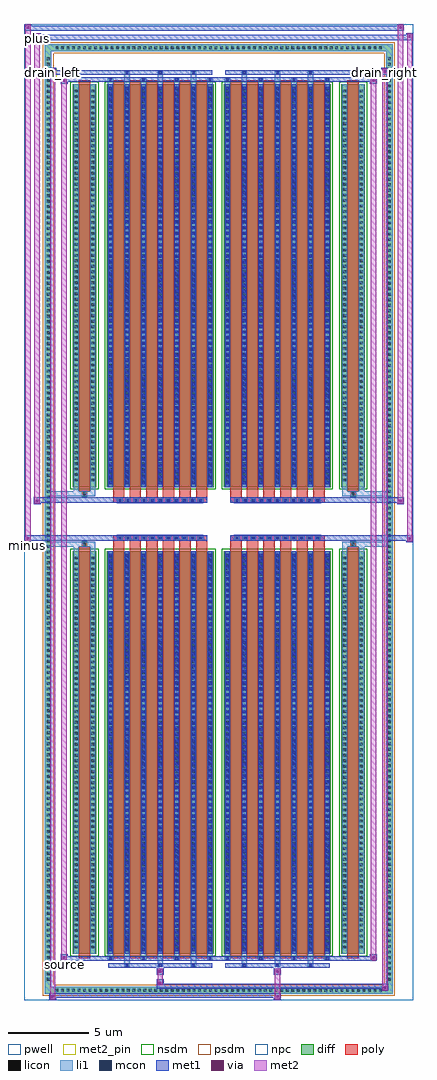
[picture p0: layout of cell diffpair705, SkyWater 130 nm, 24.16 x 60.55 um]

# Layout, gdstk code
import gdstk
lib = gdstk.Library(unit=1e-6, precision=5e-09)
def R(c, l, rs):  # rectangles x0, y0, x1, y1
    for r in rs: c.add(gdstk.rectangle(r[:2], r[2:], *l))
def A(c, l, x, y, w, h, nx, ny, dx, dy):  # array of equal rectangles
    R(c, l, [(x+i*dx, y+j*dy, x+i*dx+w, y+j*dy+h) for i in range(nx) for j in range(ny)])
def P(c, l, *ps):  # polygons
    for p in ps: c.add(gdstk.Polygon(p, *l))
pwell = (64, 44)
diff = (65, 20)
poly = (66, 20)
licon = (66, 44)
li1 = (67, 20)
mcon = (67, 44)
met1 = (68, 20)
via = (68, 44)
met2_pin = (69, 16)
met2 = (69, 20)
nsdm = (93, 44)
psdm = (94, 20)
npc = (95, 20)

diffpair705 = lib.new_cell('diffpair705')
R(diffpair705, pwell, [(-12.06,-29.84,12.06,30.71), (-9.38,-28.03,-0.01,-0.805), (0.01,-28.03,9.38,-0.805), (-9.38,0.805,-0.01,28.03), (0.01,0.805,9.38,28.03)])
A(diffpair705, diff, -10.235, -29.44, 0.41, 0.41, 60, 2, 0.34, 58.47)
A(diffpair705, diff, -10.79, -28.765, 0.41, 0.41, 1, 169, 0, 0.34)
A(diffpair705, diff, 10.38, -28.765, 0.41, 0.41, 1, 169, 0, 0.34)
R(diffpair705, diff, [(-10.235,-29.44,10.235,-29.03), (-10.79,-28.765,-10.38,28.765), (10.38,-28.765,10.79,28.765), (-9.07,-26.985,-7.59,-1.985), (-6.95,-26.985,-0.32,-1.985), (0.32,-26.985,6.95,-1.985), (7.59,-26.985,9.07,-1.985), (-9.07,1.985,-7.59,26.985), (-6.95,1.985,-0.32,26.985), (0.32,1.985,6.95,26.985), (7.59,1.985,9.07,26.985), (-10.235,29.03,10.235,29.44)])
P(diffpair705, diff, [(10.79,29.44),(-10.79,29.44),(-10.79,-29.03),(-10.38,-29.03),(-10.38,29.03),(10.38,29.03),(10.38,-29.03),(-10.38,-29.03),(-10.79,-29.03),(-10.79,-29.44),(10.79,-29.44)])
A(diffpair705, poly, -6.56, -27.235, 0.7, 25.5, 6, 2, 1.03, 28.97)
A(diffpair705, poly, 0.71, -27.235, 0.7, 25.5, 6, 2, 1.03, 28.97)
A(diffpair705, poly, -6.56, -1.735, 0.7, 0.4, 6, 2, 1.03, 3.07)
A(diffpair705, poly, 0.71, -1.735, 0.7, 0.4, 6, 2, 1.03, 3.07)
A(diffpair705, poly, -6.3, -1.335, 0.33, 0.33, 11, 2, 0.5, 2.34)
A(diffpair705, poly, 0.97, -1.335, 0.33, 0.33, 11, 2, 0.5, 2.34)
R(diffpair705, poly, [(-8.68,-27.235,-7.98,-1.735), (7.98,-27.235,8.68,-1.735), (-8.495,-1.735,-8.165,-1.405), (-8.495,-1.735,-8.165,-1.405), (8.165,-1.735,8.495,-1.405), (8.165,-1.735,8.495,-1.405), (-6.56,-1.335,-0.71,-1.005), (0.71,-1.335,6.56,-1.005), (-6.56,1.005,-0.71,1.335), (0.71,1.005,6.56,1.335), (-8.495,1.405,-8.165,1.735), (-8.495,1.405,-8.165,1.735), (8.165,1.405,8.495,1.735), (8.165,1.405,8.495,1.735), (-8.68,1.735,-7.98,27.235), (7.98,1.735,8.68,27.235)])
A(diffpair705, licon, -10.115, -29.32, 0.17, 0.17, 60, 2, 0.34, 58.47)
A(diffpair705, licon, -10.67, -28.645, 0.17, 0.17, 1, 169, 0, 0.34)
A(diffpair705, licon, 10.5, -28.645, 0.17, 0.17, 1, 169, 0, 0.34)
A(diffpair705, licon, -8.93, -26.64, 0.17, 0.17, 1, 72, 0, 0.34)
A(diffpair705, licon, -7.9, -26.64, 0.17, 0.17, 1, 72, 0, 0.34)
A(diffpair705, licon, -6.81, -26.64, 0.17, 0.17, 7, 72, 1.03, 0.34)
A(diffpair705, licon, 0.46, -26.64, 0.17, 0.17, 7, 72, 1.03, 0.34)
A(diffpair705, licon, 7.73, -26.64, 0.17, 0.17, 1, 72, 0, 0.34)
A(diffpair705, licon, 8.76, -26.64, 0.17, 0.17, 1, 72, 0, 0.34)
A(diffpair705, licon, -6.22, -1.255, 0.17, 0.17, 11, 2, 0.5, 2.34)
A(diffpair705, licon, 1.05, -1.255, 0.17, 0.17, 11, 2, 0.5, 2.34)
A(diffpair705, licon, -8.93, 2.33, 0.17, 0.17, 1, 72, 0, 0.34)
A(diffpair705, licon, -7.9, 2.33, 0.17, 0.17, 1, 72, 0, 0.34)
A(diffpair705, licon, -6.81, 2.33, 0.17, 0.17, 7, 72, 1.03, 0.34)
A(diffpair705, licon, 0.46, 2.33, 0.17, 0.17, 7, 72, 1.03, 0.34)
A(diffpair705, licon, 7.73, 2.33, 0.17, 0.17, 1, 72, 0, 0.34)
A(diffpair705, licon, 8.76, 2.33, 0.17, 0.17, 1, 72, 0, 0.34)
R(diffpair705, licon, [(-8.415,-1.655,-8.245,-1.485), (8.245,-1.655,8.415,-1.485), (-8.415,1.485,-8.245,1.655), (8.245,1.485,8.415,1.655)])
A(diffpair705, li1, -10.195, -29.4, 0.33, 0.33, 60, 2, 0.34, 58.47)
A(diffpair705, li1, -10.75, -28.725, 0.33, 0.33, 1, 169, 0, 0.34)
A(diffpair705, li1, 10.42, -28.725, 0.33, 0.33, 1, 169, 0, 0.34)
A(diffpair705, li1, -5.86, -27.79, 0.33, 0.805, 3, 2, 2.06, 54.775)
A(diffpair705, li1, -5.78, -27.79, 0.17, 0.17, 3, 2, 2.06, 55.41)
A(diffpair705, li1, 1.41, -27.79, 0.33, 0.805, 3, 2, 2.06, 54.775)
A(diffpair705, li1, 1.49, -27.79, 0.17, 0.17, 3, 2, 2.06, 55.41)
A(diffpair705, li1, -6.89, -27.36, 0.33, 0.375, 4, 2, 2.06, 54.345)
A(diffpair705, li1, -6.81, -27.36, 0.17, 0.17, 4, 2, 2.06, 54.55)
A(diffpair705, li1, 0.38, -27.36, 0.33, 0.375, 4, 2, 2.06, 54.345)
A(diffpair705, li1, 0.46, -27.36, 0.17, 0.17, 4, 2, 2.06, 54.55)
A(diffpair705, li1, -6.89, -26.985, 0.33, 25, 7, 2, 1.03, 28.97)
A(diffpair705, li1, 0.38, -26.985, 0.33, 25, 7, 2, 1.03, 28.97)
A(diffpair705, li1, -6.81, -26.81, 0.17, 0.17, 7, 69, 1.03, 0.36)
A(diffpair705, li1, -6.81, -26.81, 0.17, 24.65, 7, 2, 1.03, 28.97)
A(diffpair705, li1, 0.46, -26.81, 0.17, 0.17, 7, 69, 1.03, 0.36)
A(diffpair705, li1, 0.46, -26.81, 0.17, 24.65, 7, 2, 1.03, 28.97)
A(diffpair705, li1, -9.01, -26.72, 0.33, 0.33, 1, 72, 0, 0.34)
A(diffpair705, li1, -7.98, -26.72, 0.33, 0.33, 1, 72, 0, 0.34)
A(diffpair705, li1, -6.89, -26.72, 0.33, 0.33, 7, 72, 1.03, 0.34)
A(diffpair705, li1, 0.38, -26.72, 0.33, 0.33, 7, 72, 1.03, 0.34)
A(diffpair705, li1, 7.65, -26.72, 0.33, 0.33, 1, 72, 0, 0.34)
A(diffpair705, li1, 8.68, -26.72, 0.33, 0.33, 1, 72, 0, 0.34)
A(diffpair705, li1, -6.3, -1.335, 0.33, 0.33, 11, 2, 0.5, 2.34)
A(diffpair705, li1, 0.97, -1.335, 0.33, 0.33, 11, 2, 0.5, 2.34)
A(diffpair705, li1, -6.81, 2.16, 0.17, 0.17, 7, 69, 1.03, 0.36)
A(diffpair705, li1, 0.46, 2.16, 0.17, 0.17, 7, 69, 1.03, 0.36)
A(diffpair705, li1, -9.01, 2.25, 0.33, 0.33, 1, 72, 0, 0.34)
A(diffpair705, li1, -7.98, 2.25, 0.33, 0.33, 1, 72, 0, 0.34)
A(diffpair705, li1, -6.89, 2.25, 0.33, 0.33, 7, 72, 1.03, 0.34)
A(diffpair705, li1, 0.38, 2.25, 0.33, 0.33, 7, 72, 1.03, 0.34)
A(diffpair705, li1, 7.65, 2.25, 0.33, 0.33, 1, 72, 0, 0.34)
A(diffpair705, li1, 8.68, 2.25, 0.33, 0.33, 1, 72, 0, 0.34)
R(diffpair705, li1, [(-10.79,-29.44,-10.38,-29.03), (-10.79,-29.44,-10.38,-29.03), (-10.38,-29.44,10.38,-29.03), (10.38,-29.44,10.79,-29.03), (10.38,-29.44,10.79,-29.03), (-10.79,-29.03,-10.38,29.03), (10.38,-29.03,10.79,29.03), (-9.01,-26.985,-8.68,-1.985), (-7.98,-26.985,-7.65,-1.985), (7.65,-26.985,7.98,-1.985), (8.68,-26.985,9.01,-1.985), (-9.01,-1.985,-8.68,-1.405), (-7.98,-1.985,-7.65,-1.405), (7.65,-1.985,7.98,-1.405), (8.68,-1.985,9.01,-1.405), (-10.79,-1.735,-8.495,-1.405), (-9.01,-1.735,-8.495,-1.405), (-8.495,-1.735,-8.165,-1.405), (-8.165,-1.735,-7.65,-1.405), (7.65,-1.735,8.165,-1.405), (8.165,-1.735,8.495,-1.405), (8.165,-1.735,10.79,-1.405), (8.495,-1.735,9.01,-1.405), (-10.79,1.405,-8.495,1.735), (-9.01,1.405,-8.495,1.735), (-9.01,1.405,-8.68,1.985), (-8.495,1.405,-8.165,1.735), (-8.165,1.405,-7.65,1.735), (-7.98,1.405,-7.65,1.985), (7.65,1.405,8.165,1.735), (7.65,1.405,7.98,1.985), (8.165,1.405,8.495,1.735), (8.165,1.405,10.79,1.735), (8.495,1.405,9.01,1.735), (8.68,1.405,9.01,1.985), (-9.01,1.985,-8.68,26.985), (-7.98,1.985,-7.65,26.985), (7.65,1.985,7.98,26.985), (8.68,1.985,9.01,26.985), (-10.79,29.03,-10.38,29.44), (-10.79,29.03,-10.38,29.44), (-10.38,29.03,10.38,29.44), (10.38,29.03,10.79,29.44), (10.38,29.03,10.79,29.44)])
A(diffpair705, mcon, -5.78, -27.79, 0.17, 0.17, 3, 2, 2.06, 55.41)
A(diffpair705, mcon, 1.49, -27.79, 0.17, 0.17, 3, 2, 2.06, 55.41)
A(diffpair705, mcon, -6.81, -27.36, 0.17, 0.17, 4, 2, 2.06, 54.55)
A(diffpair705, mcon, 0.46, -27.36, 0.17, 0.17, 4, 2, 2.06, 54.55)
A(diffpair705, mcon, -6.81, -26.81, 0.17, 0.17, 7, 69, 1.03, 0.36)
A(diffpair705, mcon, 0.46, -26.81, 0.17, 0.17, 7, 69, 1.03, 0.36)
A(diffpair705, mcon, -6.22, -1.255, 0.17, 0.17, 11, 2, 0.5, 2.34)
A(diffpair705, mcon, 1.05, -1.255, 0.17, 0.17, 11, 2, 0.5, 2.34)
A(diffpair705, mcon, -6.81, 2.16, 0.17, 0.17, 7, 69, 1.03, 0.36)
A(diffpair705, mcon, 0.46, 2.16, 0.17, 0.17, 7, 69, 1.03, 0.36)
A(diffpair705, met1, -5.84, -27.85, 0.29, 0.29, 3, 2, 2.06, 55.41)
A(diffpair705, met1, 1.43, -27.85, 0.29, 0.29, 3, 2, 2.06, 55.41)
A(diffpair705, met1, -6.87, -27.42, 0.29, 0.29, 4, 2, 2.06, 54.55)
A(diffpair705, met1, 0.4, -27.42, 0.29, 0.29, 4, 2, 2.06, 54.55)
A(diffpair705, met1, -6.87, -26.985, 0.29, 25, 7, 2, 1.03, 28.97)
A(diffpair705, met1, 0.4, -26.985, 0.29, 25, 7, 2, 1.03, 28.97)
A(diffpair705, met1, -6.87, -26.87, 0.29, 0.29, 7, 69, 1.03, 0.36)
A(diffpair705, met1, 0.4, -26.87, 0.29, 0.29, 7, 69, 1.03, 0.36)
A(diffpair705, met1, -6.28, -1.315, 0.29, 0.29, 11, 2, 0.5, 2.34)
A(diffpair705, met1, 0.99, -1.315, 0.29, 0.29, 11, 2, 0.5, 2.34)
A(diffpair705, met1, -6.87, 2.1, 0.29, 0.29, 7, 69, 1.03, 0.36)
A(diffpair705, met1, 0.4, 2.1, 0.29, 0.29, 7, 69, 1.03, 0.36)
R(diffpair705, met1, [(-10.52,-29.84,-10.09,-29.41), (3.42,-29.84,3.85,-29.41), (-10.52,-29.7,3.85,-29.41), (10.09,-29.27,10.52,-28.84), (-3.85,-29.13,10.52,-28.84), (-3.85,-28.99,-3.42,-28.56), (-3.85,-28.28,-3.42,-27.85), (3.42,-28.28,3.85,-27.85), (-6.87,-27.85,-0.4,-27.56), (0.4,-27.85,6.87,-27.56), (-9.81,-27.42,-9.38,-26.99), (-9.81,-27.42,-6.87,-27.13), (-6.87,-27.42,-0.4,-27.13), (-0.4,-27.42,0.4,-27.13), (0.4,-27.42,6.87,-27.13), (6.87,-27.42,9.81,-27.13), (9.38,-27.42,9.81,-26.99), (-12.06,-1.435,-11.63,-1.005), (11.63,-1.435,12.06,-1.005), (-12.06,-1.335,-0.71,-1.005), (-6.56,-1.335,-0.71,-1.005), (0.71,-1.335,6.56,-1.005), (0.71,-1.335,12.06,-1.005), (-11.49,0.905,-11.06,1.335), (11.06,0.905,11.49,1.335), (-11.49,1.005,-6.56,1.335), (-6.56,1.005,-0.71,1.335), (0.71,1.005,6.56,1.335), (6.56,1.005,11.49,1.335), (-9.81,26.99,-9.38,27.42), (9.38,26.99,9.81,27.42), (-9.81,27.13,-6.87,27.42), (-6.87,27.13,-0.4,27.42), (-0.4,27.13,0.4,27.42), (0.4,27.13,6.87,27.42), (6.87,27.13,9.81,27.42), (-10.52,27.56,-10.09,27.99), (-10.52,27.56,-6.87,27.85), (-6.87,27.56,-0.4,27.85), (0.4,27.56,6.87,27.85), (6.87,27.56,10.52,27.85), (10.09,27.56,10.52,27.99), (-11.49,29.71,-11.06,30.14), (-11.49,29.71,-9.38,30.04), (-9.38,29.71,9.38,30.04), (9.38,29.71,12.06,30.04), (11.63,29.71,12.06,30.14), (-12.06,30.28,-11.63,30.71), (-12.06,30.28,-9.38,30.61), (-9.38,30.28,9.38,30.61), (9.38,30.28,11.49,30.61), (11.06,30.28,11.49,30.71)])
R(diffpair705, via, [(-10.38,-29.7,-10.23,-29.55), (3.56,-29.7,3.71,-29.55), (10.23,-29.13,10.38,-28.98), (-3.71,-28.85,-3.56,-28.7), (-3.71,-28.14,-3.56,-27.99), (3.56,-28.14,3.71,-27.99), (-9.67,-27.28,-9.52,-27.13), (9.52,-27.28,9.67,-27.13), (-11.92,-1.295,-11.77,-1.145), (11.77,-1.295,11.92,-1.145), (-11.35,1.045,-11.2,1.195), (11.2,1.045,11.35,1.195), (-9.67,27.13,-9.52,27.28), (9.52,27.13,9.67,27.28), (-10.38,27.7,-10.23,27.85), (10.23,27.7,10.38,27.85), (-11.35,29.85,-11.2,30), (11.77,29.85,11.92,30), (-11.92,30.42,-11.77,30.57), (11.2,30.42,11.35,30.57)])
R(diffpair705, met2_pin, [(-9.845,-27.87,-9.345,-27.37), (-12.095,-1.885,-11.595,-1.385), (-10.555,27.44,-10.055,27.94), (10.055,27.44,10.555,27.94), (-11.525,29.59,-11.025,30.09)])
R(diffpair705, met2, [(-10.47,-29.79,-10.14,-29.46), (-10.47,-29.79,-10.14,27.94), (3.47,-29.79,3.8,-29.46), (3.47,-29.46,3.8,-28.23), (10.14,-29.22,10.47,-28.89), (10.14,-29.22,10.47,27.94), (-3.8,-28.94,-3.47,-28.61), (-3.8,-28.61,-3.47,-28.23), (-3.8,-28.23,-3.47,-27.9), (3.47,-28.23,3.8,-27.9), (-9.76,-27.37,-9.43,-27.04), (-9.76,-27.37,-9.43,27.37), (9.43,-27.37,9.76,-27.04), (9.43,-27.37,9.76,27.37), (-12.01,-1.385,-11.68,-1.055), (-12.01,-1.385,-11.68,30.66), (11.68,-1.385,12.01,-1.055), (11.68,-1.385,12.01,30.09), (-11.44,0.955,-11.11,1.285), (-11.44,0.955,-11.11,30.09), (11.11,0.955,11.44,1.285), (11.11,0.955,11.44,30.66), (-9.76,27.04,-9.43,27.37), (9.43,27.04,9.76,27.37), (-10.47,27.61,-10.14,27.94), (10.14,27.61,10.47,27.94), (-11.44,29.76,-11.11,30.09), (11.68,29.76,12.01,30.09), (-12.01,30.33,-11.68,30.66), (11.11,30.33,11.44,30.66)])
P(diffpair705, met2, [(12.01,-1.385),(12.01,-1.385),(12.01,-1.055),(12.01,-1.055)],
  [(12.01,29.76),(12.01,29.76),(12.01,30.09),(12.01,30.09)],
  [(-11.68,-1.385),(-11.68,-1.385),(-11.68,-1.055),(-11.68,-1.055)],
  [(-11.68,30.33),(-11.68,30.33),(-11.68,30.66),(-11.68,30.66)],
  [(11.44,0.955),(11.44,0.955),(11.44,1.285),(11.44,1.285)],
  [(11.44,30.33),(11.44,30.33),(11.44,30.66),(11.44,30.66)],
  [(-11.11,0.955),(-11.11,0.955),(-11.11,1.285),(-11.11,1.285)],
  [(-11.11,29.76),(-11.11,29.76),(-11.11,30.09),(-11.11,30.09)],
  [(-10.14,-29.79),(-10.14,-29.79),(-10.14,-29.46),(-10.14,-29.46)],
  [(-10.14,27.61),(-10.14,27.61),(-10.14,27.94),(-10.14,27.94)],
  [(10.47,-29.22),(10.47,-29.22),(10.47,-28.89),(10.47,-28.89)],
  [(10.47,27.61),(10.47,27.61),(10.47,27.94),(10.47,27.94)],
  [(-9.43,-27.37),(-9.43,-27.37),(-9.43,-27.04),(-9.43,-27.04)],
  [(-9.43,27.04),(-9.43,27.04),(-9.43,27.37),(-9.43,27.37)],
  [(9.76,-27.37),(9.76,-27.37),(9.76,-27.04),(9.76,-27.04)],
  [(9.76,27.04),(9.76,27.04),(9.76,27.37),(9.76,27.37)])
R(diffpair705, nsdm, [(-9.2,-27.115,-7.46,-1.855), (-7.08,-27.115,-0.19,-1.855), (0.19,-27.115,7.08,-1.855), (7.46,-27.115,9.2,-1.855), (-9.2,1.855,-7.46,27.115), (-7.08,1.855,-0.19,27.115), (0.19,1.855,7.08,27.115), (7.46,1.855,9.2,27.115)])
P(diffpair705, psdm, [(10.92,29.57),(-10.92,29.57),(-10.92,-28.9),(-10.25,-28.9),(-10.25,28.9),(10.25,28.9),(10.25,-28.9),(-10.25,-28.9),(-10.92,-28.9),(-10.92,-29.57),(10.92,-29.57)])
A(diffpair705, npc, -6.32, -1.355, 0.37, 0.37, 11, 2, 0.5, 2.34)
A(diffpair705, npc, 0.95, -1.355, 0.37, 0.37, 11, 2, 0.5, 2.34)
R(diffpair705, npc, [(-8.515,-1.755,-8.145,-1.385), (8.145,-1.755,8.515,-1.385), (-6.32,-1.355,-5.45,-0.985), (-6.32,-1.355,-5.45,-0.985), (-5.82,-1.355,-4.95,-0.985), (-5.82,-1.355,-4.95,-0.985), (-5.32,-1.355,-4.45,-0.985), (-5.32,-1.355,-4.45,-0.985), (-4.82,-1.355,-3.95,-0.985), (-4.82,-1.355,-3.95,-0.985), (-4.32,-1.355,-3.45,-0.985), (-4.32,-1.355,-3.45,-0.985), (-3.82,-1.355,-2.95,-0.985), (-3.82,-1.355,-2.95,-0.985), (-3.32,-1.355,-2.45,-0.985), (-3.32,-1.355,-2.45,-0.985), (-2.82,-1.355,-1.95,-0.985), (-2.82,-1.355,-1.95,-0.985), (-2.32,-1.355,-1.45,-0.985), (-2.32,-1.355,-1.45,-0.985), (-1.82,-1.355,-0.95,-0.985), (-1.82,-1.355,-0.95,-0.985), (0.95,-1.355,1.82,-0.985), (0.95,-1.355,1.82,-0.985), (1.45,-1.355,2.32,-0.985), (1.45,-1.355,2.32,-0.985), (1.95,-1.355,2.82,-0.985), (1.95,-1.355,2.82,-0.985), (2.45,-1.355,3.32,-0.985), (2.45,-1.355,3.32,-0.985), (2.95,-1.355,3.82,-0.985), (2.95,-1.355,3.82,-0.985), (3.45,-1.355,4.32,-0.985), (3.45,-1.355,4.32,-0.985), (3.95,-1.355,4.82,-0.985), (3.95,-1.355,4.82,-0.985), (4.45,-1.355,5.32,-0.985), (4.45,-1.355,5.32,-0.985), (4.95,-1.355,5.82,-0.985), (4.95,-1.355,5.82,-0.985), (5.45,-1.355,6.32,-0.985), (5.45,-1.355,6.32,-0.985), (-6.32,0.985,-5.45,1.355), (-6.32,0.985,-5.45,1.355), (-5.82,0.985,-4.95,1.355), (-5.82,0.985,-4.95,1.355), (-5.32,0.985,-4.45,1.355), (-5.32,0.985,-4.45,1.355), (-4.82,0.985,-3.95,1.355), (-4.82,0.985,-3.95,1.355), (-4.32,0.985,-3.45,1.355), (-4.32,0.985,-3.45,1.355), (-3.82,0.985,-2.95,1.355), (-3.82,0.985,-2.95,1.355), (-3.32,0.985,-2.45,1.355), (-3.32,0.985,-2.45,1.355), (-2.82,0.985,-1.95,1.355), (-2.82,0.985,-1.95,1.355), (-2.32,0.985,-1.45,1.355), (-2.32,0.985,-1.45,1.355), (-1.82,0.985,-0.95,1.355), (-1.82,0.985,-0.95,1.355), (0.95,0.985,1.82,1.355), (0.95,0.985,1.82,1.355), (1.45,0.985,2.32,1.355), (1.45,0.985,2.32,1.355), (1.95,0.985,2.82,1.355), (1.95,0.985,2.82,1.355), (2.45,0.985,3.32,1.355), (2.45,0.985,3.32,1.355), (2.95,0.985,3.82,1.355), (2.95,0.985,3.82,1.355), (3.45,0.985,4.32,1.355), (3.45,0.985,4.32,1.355), (3.95,0.985,4.82,1.355), (3.95,0.985,4.82,1.355), (4.45,0.985,5.32,1.355), (4.45,0.985,5.32,1.355), (4.95,0.985,5.82,1.355), (4.95,0.985,5.82,1.355), (5.45,0.985,6.32,1.355), (5.45,0.985,6.32,1.355), (-8.515,1.385,-8.145,1.755), (8.145,1.385,8.515,1.755)])
diffpair705.add(gdstk.Label('minus', (-11.845,-1.635), layer=69, texttype=5))
diffpair705.add(gdstk.Label('drain_right', (10.305,27.69), layer=69, texttype=5))
diffpair705.add(gdstk.Label('drain_left', (-10.305,27.69), layer=69, texttype=5))
diffpair705.add(gdstk.Label('source', (-9.595,-27.62), layer=69, texttype=5))
diffpair705.add(gdstk.Label('plus', (-11.275,29.84), layer=69, texttype=5))

lib.write_gds('diffpair705.gds')
